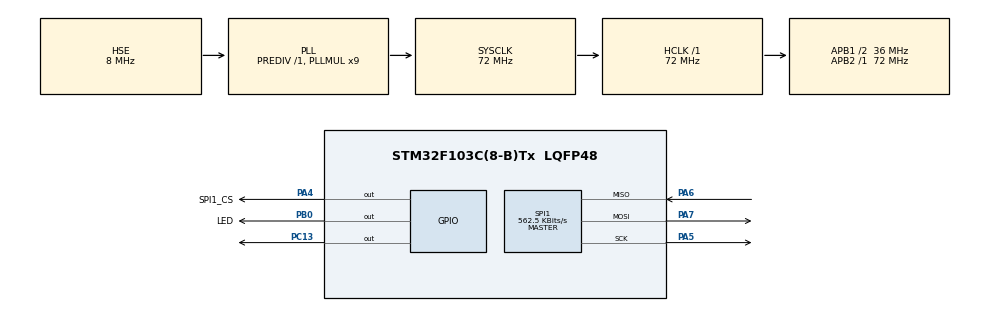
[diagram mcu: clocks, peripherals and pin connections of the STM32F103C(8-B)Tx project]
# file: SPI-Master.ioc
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Mcu.Family=STM32F1
Mcu.Name=STM32F103C(8-B)Tx
Mcu.Package=LQFP48
NVIC.PriorityGroup=NVIC_PRIORITYGROUP_4
PA13.Mode=Serial_Wire
PA13.Signal=SYS_JTMS-SWDIO
PA14.Mode=Serial_Wire
PA14.Signal=SYS_JTCK-SWCLK
PA4.GPIO_Label=SPI1_CS
PA4.Signal=GPIO_Output
PA5.Mode=Full_Duplex_Master
PA5.Signal=SPI1_SCK
PA6.Mode=Full_Duplex_Master
PA6.Signal=SPI1_MISO
PA7.Mode=Full_Duplex_Master
PA7.Signal=SPI1_MOSI
PB0.GPIO_Label=LED
PB0.Signal=GPIO_Output
PC13-TAMPER-RTC.Signal=GPIO_Output
PD0-OSC_IN.Mode=HSE-External-Oscillator
PD0-OSC_IN.Signal=RCC_OSC_IN
PD1-OSC_OUT.Mode=HSE-External-Oscillator
PD1-OSC_OUT.Signal=RCC_OSC_OUT
ProjectManager.HeapSize=0x200
ProjectManager.StackSize=0x400
ProjectManager.TargetToolchain=MDK-ARM V5.32
RCC.AHBFreq_Value=72000000
RCC.APB1CLKDivider=RCC_HCLK_DIV2
RCC.APB1Freq_Value=36000000
RCC.APB1TimFreq_Value=72000000
RCC.APB2Freq_Value=72000000
RCC.APB2TimFreq_Value=72000000
RCC.HCLKFreq_Value=72000000
RCC.PLLMUL=RCC_PLL_MUL9
RCC.PLLSourceVirtual=RCC_PLLSOURCE_HSE
RCC.SYSCLKFreq_VALUE=72000000
RCC.SYSCLKSource=RCC_SYSCLKSOURCE_PLLCLK
RCC.USBFreq_Value=72000000
SPI1.BaudRatePrescaler=SPI_BAUDRATEPRESCALER_128
SPI1.CalculateBaudRate=562.5 KBits/s
SPI1.Direction=SPI_DIRECTION_2LINES
SPI1.Mode=SPI_MODE_MASTER
SPI1.VirtualType=VM_MASTER
board=custom

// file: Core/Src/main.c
/* USER CODE BEGIN Header */
/**
  ******************************************************************************
  * @file           : main.c
  * @brief          : Main program body
  ******************************************************************************
  * @attention
  *
  * Copyright (c) 2026 STMicroelectronics.
  * All rights reserved.
  *
  * This software is licensed under terms that can be found in the LICENSE file
  * in the root directory of this software component.
  * If no LICENSE file comes with this software, it is provided AS-IS.
  *
  ******************************************************************************
  */
/* USER CODE END Header */
#include "main.h"

/* USER CODE BEGIN PD */
/* USER CODE BEGIN PD */

/* USER CODE END PD */

SPI_HandleTypeDef hspi1;

void SystemClock_Config(void);
static void MX_GPIO_Init(void);
static void MX_SPI1_Init(void);

/* USER CODE BEGIN 0 */

#define SPI_READ        0x00  // 00000000
#define SPI_WRITE       0x80 //  10000000
#define REGISTER_LED    0x01

#define REGISTER_VALUE  0x02

uint16_t val;

void SPI_Master_Write(uint8_t addr, uint8_t data)
{
    uint8_t tx[2];
    tx[0] = SPI_WRITE | addr;  // 0x80 | 0x01 = 0x81   10000000 | 00000001 = 10000001
    tx[1] = data;

    HAL_GPIO_WritePin(GPIOA, GPIO_PIN_4, GPIO_PIN_RESET);

    HAL_SPI_Transmit(&hspi1, tx, 2, HAL_MAX_DELAY);

    HAL_GPIO_WritePin(GPIOA, GPIO_PIN_4, GPIO_PIN_SET);

}

uint16_t SPI_Master_ReadValue(void)
{
    uint8_t tx[2], rx[2];
    uint16_t result;

    // ---- Bu?c 1: g?i l?nh READ REGISTER_VALUE ----
    tx[0] = SPI_READ | REGISTER_VALUE;
    tx[1] = 0x00;

    HAL_GPIO_WritePin(GPIOA, GPIO_PIN_4, GPIO_PIN_RESET); // CS LOW
    HAL_SPI_TransmitReceive(&hspi1, tx, rx, 2, HAL_MAX_DELAY);
    HAL_GPIO_WritePin(GPIOA, GPIO_PIN_4, GPIO_PIN_SET);   // CS HIGH

    HAL_Delay(1); // ch? Slave x? lý xong & chu?n b? tx_buf (có th? gi?m xu?ng vài us tùy clock)

    // ---- Bu?c 2: g?i dummy d? L?Y data th?t ----
    tx[0] = 0x00;
    tx[1] = 0x00;

    HAL_GPIO_WritePin(GPIOA, GPIO_PIN_4, GPIO_PIN_RESET); // CS LOW
    HAL_SPI_TransmitReceive(&hspi1, tx, rx, 2, HAL_MAX_DELAY);
    HAL_GPIO_WritePin(GPIOA, GPIO_PIN_4, GPIO_PIN_SET);   // CS HIGH

    result = (uint16_t)((rx[0] << 8) | rx[1]); // ghép byte cao + byte th?p

    return result;
}

/* USER CODE END 0 */

int main(void)
{

  /* MCU Configuration--------------------------------------------------------*/

  /* Reset of all peripherals, Initializes the Flash interface and the Systick. */
  HAL_Init();

  /* Configure the system clock */
  SystemClock_Config();

  /* Initialize all configured peripherals */
  MX_GPIO_Init();
  MX_SPI1_Init();

  /* Infinite loop */
  while (1)
  {

    /* USER CODE BEGIN 3 */

		SPI_Master_Write(REGISTER_LED, 0x01);  // LED ON
    HAL_Delay(200);
    SPI_Master_Write(REGISTER_LED, 0x00);  // LED OFF
    HAL_Delay(200);

		val = SPI_Master_ReadValue();
  }
  /* USER CODE END 3 */
}

void SystemClock_Config(void)
{
  RCC_OscInitTypeDef RCC_OscInitStruct = {0};
  RCC_ClkInitTypeDef RCC_ClkInitStruct = {0};

  /** Initializes the RCC Oscillators according to the specified parameters
  * in the RCC_OscInitTypeDef structure.
  */
  RCC_OscInitStruct.OscillatorType = RCC_OSCILLATORTYPE_HSE;
  RCC_OscInitStruct.HSEState = RCC_HSE_ON;
  RCC_OscInitStruct.HSEPredivValue = RCC_HSE_PREDIV_DIV1;
  RCC_OscInitStruct.HSIState = RCC_HSI_ON;
  RCC_OscInitStruct.PLL.PLLState = RCC_PLL_ON;
  RCC_OscInitStruct.PLL.PLLSource = RCC_PLLSOURCE_HSE;
  RCC_OscInitStruct.PLL.PLLMUL = RCC_PLL_MUL9;
  if (HAL_RCC_OscConfig(&RCC_OscInitStruct) != HAL_OK)
  {
    Error_Handler();
  }

  /** Initializes the CPU, AHB and APB buses clocks
  */
  RCC_ClkInitStruct.ClockType = RCC_CLOCKTYPE_HCLK|RCC_CLOCKTYPE_SYSCLK
                              |RCC_CLOCKTYPE_PCLK1|RCC_CLOCKTYPE_PCLK2;
  RCC_ClkInitStruct.SYSCLKSource = RCC_SYSCLKSOURCE_PLLCLK;
  RCC_ClkInitStruct.AHBCLKDivider = RCC_SYSCLK_DIV1;
  RCC_ClkInitStruct.APB1CLKDivider = RCC_HCLK_DIV2;
  RCC_ClkInitStruct.APB2CLKDivider = RCC_HCLK_DIV1;

  if (HAL_RCC_ClockConfig(&RCC_ClkInitStruct, FLASH_LATENCY_2) != HAL_OK)
  {
    Error_Handler();
  }
}

static void MX_SPI1_Init(void)
{

  /* SPI1 parameter configuration*/
  hspi1.Instance = SPI1;
  hspi1.Init.Mode = SPI_MODE_MASTER;
  hspi1.Init.Direction = SPI_DIRECTION_2LINES;
  hspi1.Init.DataSize = SPI_DATASIZE_8BIT;
  hspi1.Init.CLKPolarity = SPI_POLARITY_LOW;
  hspi1.Init.CLKPhase = SPI_PHASE_1EDGE;
  hspi1.Init.NSS = SPI_NSS_SOFT;
  hspi1.Init.BaudRatePrescaler = SPI_BAUDRATEPRESCALER_128;
  hspi1.Init.FirstBit = SPI_FIRSTBIT_MSB;
  hspi1.Init.TIMode = SPI_TIMODE_DISABLE;
  hspi1.Init.CRCCalculation = SPI_CRCCALCULATION_DISABLE;
  hspi1.Init.CRCPolynomial = 10;
  if (HAL_SPI_Init(&hspi1) != HAL_OK)
  {
    Error_Handler();
  }

}

static void MX_GPIO_Init(void)
{
  GPIO_InitTypeDef GPIO_InitStruct = {0};

  /* GPIO Ports Clock Enable */
  __HAL_RCC_GPIOC_CLK_ENABLE();
  __HAL_RCC_GPIOD_CLK_ENABLE();
  __HAL_RCC_GPIOA_CLK_ENABLE();
  __HAL_RCC_GPIOB_CLK_ENABLE();

  /*Configure GPIO pin Output Level */
  HAL_GPIO_WritePin(GPIOC, GPIO_PIN_13, GPIO_PIN_RESET);

  /*Configure GPIO pin Output Level */
  HAL_GPIO_WritePin(SPI1_CS_GPIO_Port, SPI1_CS_Pin, GPIO_PIN_RESET);

  /*Configure GPIO pin Output Level */
  HAL_GPIO_WritePin(LED_GPIO_Port, LED_Pin, GPIO_PIN_RESET);

  /*Configure GPIO pin : PC13 */
  GPIO_InitStruct.Pin = GPIO_PIN_13;
  GPIO_InitStruct.Mode = GPIO_MODE_OUTPUT_PP;
  GPIO_InitStruct.Pull = GPIO_NOPULL;
  GPIO_InitStruct.Speed = GPIO_SPEED_FREQ_LOW;
  HAL_GPIO_Init(GPIOC, &GPIO_InitStruct);

  /*Configure GPIO pin : SPI1_CS_Pin */
  GPIO_InitStruct.Pin = SPI1_CS_Pin;
  GPIO_InitStruct.Mode = GPIO_MODE_OUTPUT_PP;
  GPIO_InitStruct.Pull = GPIO_NOPULL;
  GPIO_InitStruct.Speed = GPIO_SPEED_FREQ_LOW;
  HAL_GPIO_Init(SPI1_CS_GPIO_Port, &GPIO_InitStruct);

  /*Configure GPIO pin : LED_Pin */
  GPIO_InitStruct.Pin = LED_Pin;
  GPIO_InitStruct.Mode = GPIO_MODE_OUTPUT_PP;
  GPIO_InitStruct.Pull = GPIO_NOPULL;
  GPIO_InitStruct.Speed = GPIO_SPEED_FREQ_LOW;
  HAL_GPIO_Init(LED_GPIO_Port, &GPIO_InitStruct);

}

void Error_Handler(void)
{
  __disable_irq();
  while (1)
  {
  }
}
